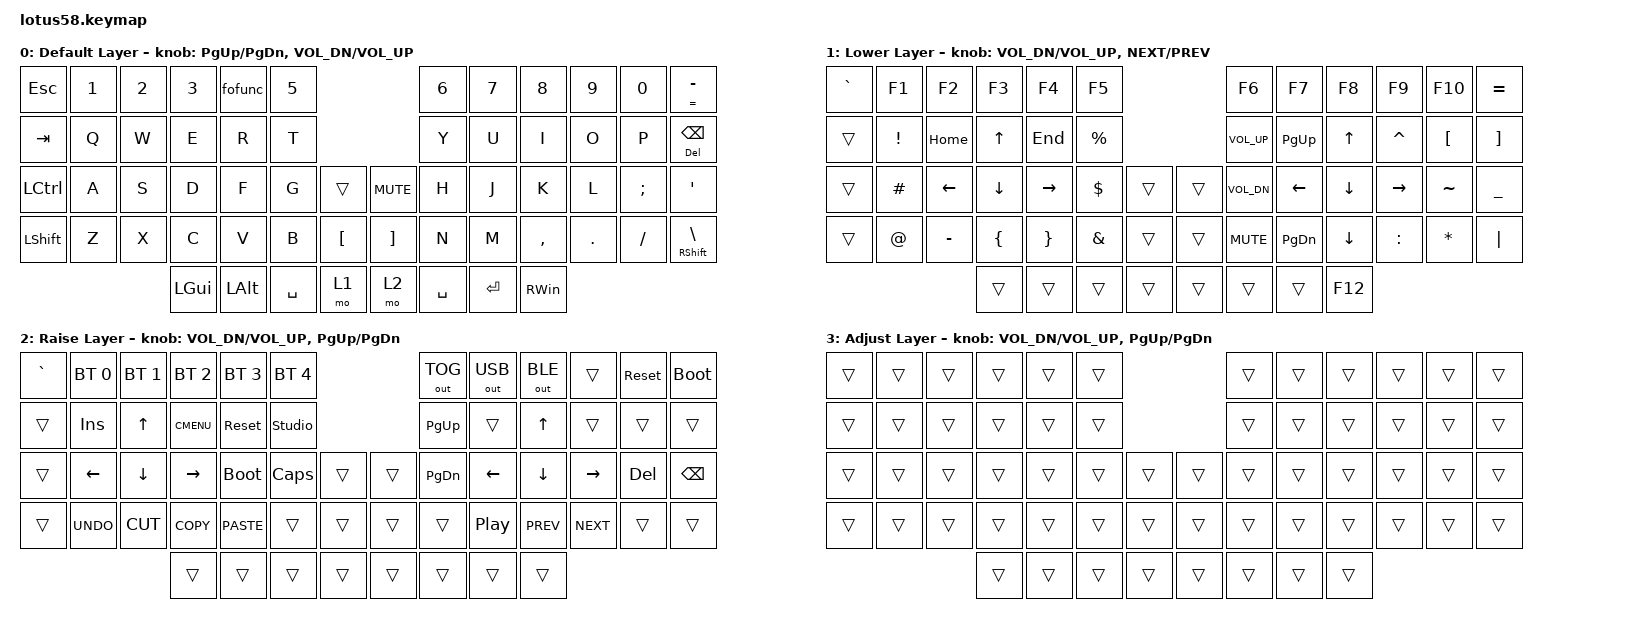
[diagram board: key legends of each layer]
/*
 * Copyright (c) 2022 The ZMK Contributors
 *
 * SPDX-License-Identifier: MIT
 */

#include <behaviors.dtsi>
#include <dt-bindings/zmk/bt.h>
#include <dt-bindings/zmk/keys.h>
#include <dt-bindings/zmk/outputs.h>

// Encoders

&sensors { triggers-per-rotation = <30>; };

&left_encoder { steps = <60>; };

&right_encoder { steps = <60>; };

/ {
    combos {
        compatible = "zmk,combos";

        combo_dsklg {
            timeout-ms = <100>;
            key-positions = <24 52>;
            layers = <0>;
            bindings = <&kp LGUI>;
        };
    };

    behaviors {
        fofunc: four_ffour {
            compatible = "zmk,behavior-mod-morph";
            #binding-cells = <0>;
            bindings = <&kp N4>, <&kp F4>;

            mods = <(MOD_LALT|MOD_RALT)>;
        };

        sleft: s_left {
            compatible = "zmk,behavior-mod-morph";
            #binding-cells = <0>;
            bindings = <&kp S>, <&kp LEFT>;

            mods = <(MOD_LGUI|MOD_RGUI)>;
        };

        fright: f_right {
            compatible = "zmk,behavior-mod-morph";
            #binding-cells = <0>;
            bindings = <&kp F>, <&kp RIGHT>;

            mods = <(MOD_LGUI|MOD_RGUI)>;
        };
    };

    keymap {
        compatible = "zmk,keymap";

        default_layer {
            display-name = "Default Layer";

            //   ------------------------------------------------------------------------------------------------------------
            //  0|  ESC  |  1  |  2  |  3   |  4   |  5   |                     |  6   |  7    |  8    |  9   |   0   |   =   | 11
            // 12|  TAB  |  Q  |  W  |  E   |  R   |  T   |                     |  Y   |  U    |  I    |  O   |   P   |   [   | 23
            // 24|  SFT  |  A  |  S  |  D   |  F   |  G   |  RESET  |  | RESET  |  H   |  J    |  K    |  L   |   ;   | ' SFT | 37
            // 38|  CTRL |  Z  |  X  |  C   |  V   |  B   |  MUTE   |  | PLAY   |  N   |  M    |  ,    |  .   |   /   | \ CTRL| 51
            // 52                    |ENT RS|  ALT | SPACE|DELETE LW|  |ENTER RS| BSPC |  ] LW | RGUI  |                        59

            bindings = <
&kp ESC           &kp N1  &kp N2  &kp N3    &fofunc   &kp N5                           &kp N6     &kp N7     &kp N8         &kp N9   &kp N0    &mt EQUAL MINUS
&kp TAB           &kp Q   &kp W   &kp E     &kp R     &kp T                            &kp Y      &kp U      &kp I          &kp O    &kp P     &mt DELETE BACKSPACE
&kp LEFT_CONTROL  &kp A   &kp S   &kp D     &kp F     &kp G      &trans    &kp C_MUTE  &kp H      &kp J      &kp K          &kp L    &kp SEMI  &kp APOSTROPHE
&kp LEFT_SHIFT    &kp Z   &kp X   &kp C     &kp V     &kp B      &kp LBKT  &kp RBKT    &kp N      &kp M      &kp COMMA      &kp DOT  &kp FSLH  &mt RIGHT_SHIFT BSLH
                                  &kp LGUI  &kp LALT  &kp SPACE  &mo 1     &mo 2       &kp SPACE  &kp ENTER  &kp RIGHT_WIN
            >;

            sensor-bindings = <&inc_dec_kp PG_UP PG_DN &inc_dec_kp C_VOL_DN C_VOL_UP>;
        };

        lower_layer {
            display-name = "Lower Layer";

            // ------------------------------------------------------------------------------------------------------------
            // | `     |  F1 |  F2 |  F3  |  F4  |  F5  |                   |  F6  |  F7   |  F8   |  F9  |  F10  |  F11  |
            // |       |  !  | HOME|   ^  |  END |  %   |                   | VOL^ |  PGUP |  INS  |  ^   |  PSCR |   -   |
            // |       |  #  |  <- |   v  | ->   |  $   |        |  |       | VOLv |    <- |   ^   |  ->  |   ~   |   _   |
            // |       |  @  |  -  |  (   |  )   |  &   |        |  |       | MUTE |  PGDN |   v   |  :   |   *   |   |   |
            //                     |  F11 |      |      |        |  |       |      |       |  F12  |

            bindings = <
&kp GRAVE  &kp F1    &kp F2     &kp F3    &kp F4     &kp F5                     &kp F6        &kp F7     &kp F8        &kp F9     &kp F10           &kp EQUAL
&trans     &kp EXCL  &kp HOME   &kp UP    &kp END    &kp PRCNT                  &kp C_VOL_UP  &kp PG_UP  &kp UP_ARROW  &kp CARET  &kp LEFT_BRACKET  &kp RIGHT_BRACKET
&trans     &kp HASH  &kp LEFT   &kp DOWN  &kp RIGHT  &kp DLLR   &trans  &trans  &kp C_VOL_DN  &kp LEFT   &kp DOWN      &kp RIGHT  &kp TILDE         &kp UNDER
&trans     &kp AT    &kp MINUS  &kp LBRC  &kp RBRC   &kp AMPS   &trans  &trans  &kp C_MUTE    &kp PG_DN  &kp DOWN      &kp COLON  &kp STAR          &kp PIPE
                                &trans    &trans     &trans     &trans  &trans  &trans        &trans     &kp F12
            >;

            sensor-bindings = <&inc_dec_kp C_VOL_DN C_VOL_UP &inc_dec_kp C_NEXT C_PREV>;
        };

        raise_layer {
            display-name = "Raise Layer";

            // ------------------------------------------------------------------------------------------------------------
            // |BTCLR| BT1  | BT2  |  BT3  |  BT4  |  BT5 |                |OUTTOG|OUTUSB| OUTBT |      | RESET | FLASH |
            // |     | INS  | PSCR | GUI   | RESET |      |                | PGUP |      |   ^   |      |       |       |
            // |     | ALT  | CTRL | SHIFT | FLASH | CAPS |      |  |      | PGDN |   <- |   v   |  ->  |  DEL  | BSPC  |
            // |     | UNDO | CUT  | COPY  | PASTE |      |      |  |      |      |  |>  |  <|<| | |>|> |       |       |
            //                     |       |       |      |      |  |      |      |      |       |

            bindings = <
&kp GRAVE  &bt BT_SEL 0    &bt BT_SEL 1  &bt BT_SEL 2  &bt BT_SEL 3  &bt BT_SEL 4                    &out OUT_TOG  &out OUT_USB  &out OUT_BLE  &trans      &sys_reset  &bootloader
&trans     &kp INS         &kp UP_ARROW  &kp K_CMENU   &sys_reset    &studio_unlock                  &kp PG_UP     &trans        &kp UP        &trans      &trans      &trans
&trans     &kp LEFT_ARROW  &kp DOWN      &kp RIGHT     &bootloader   &kp CLCK        &trans  &trans  &kp PG_DN     &kp LEFT      &kp DOWN      &kp RIGHT   &kp DEL     &kp BSPC
&trans     &kp K_UNDO      &kp K_CUT     &kp K_COPY    &kp K_PASTE   &trans          &trans  &trans  &trans        &kp C_PP      &kp C_PREV    &kp C_NEXT  &trans      &trans
                                         &trans        &trans        &trans          &trans  &trans  &trans        &trans        &trans
            >;

            sensor-bindings = <&inc_dec_kp C_VOL_DN C_VOL_UP &inc_dec_kp PG_UP PG_DN>;
        };

        adjust_layer {
            display-name = "Adjust Layer";

            // ------------------------------------------------------------------------------------------------------------
            // |BTCLR| BT1  | BT2  |  BT3  |  BT4  |  BT5 |                |OUTTOG|OUTUSB| OUTBT |      | RESET | FLASH |
            // |     | INS  | PSCR | GUI   | RESET |      |                | PGUP |      |   ^   |      |       |       |
            // |     | ALT  | CTRL | SHIFT | FLASH | CAPS |      |  |      | PGDN |   <- |   v   |  ->  |  DEL  | BSPC  |
            // |     | UNDO | CUT  | COPY  | PASTE |      |      |  |      |      |  |>  |  <|<| | |>|> |       |       |
            //                     |       |       |      |      |  |      |      |      |       |

            bindings = <
&trans  &trans  &trans  &trans  &trans  &trans                  &trans  &trans  &trans  &trans  &trans  &trans
&trans  &trans  &trans  &trans  &trans  &trans                  &trans  &trans  &trans  &trans  &trans  &trans
&trans  &trans  &trans  &trans  &trans  &trans  &trans  &trans  &trans  &trans  &trans  &trans  &trans  &trans
&trans  &trans  &trans  &trans  &trans  &trans  &trans  &trans  &trans  &trans  &trans  &trans  &trans  &trans
                        &trans  &trans  &trans  &trans  &trans  &trans  &trans  &trans
            >;

            sensor-bindings = <&inc_dec_kp C_VOL_DN C_VOL_UP &inc_dec_kp PG_UP PG_DN>;
        };
    };

    extra_layer {
        display-name = "Extra Layer";

        // ------------------------------------------------------------------------------------------------------------
        // |BTCLR| BT1  | BT2  |  BT3  |  BT4  |  BT5 |                |OUTTOG|OUTUSB| OUTBT |      | RESET | FLASH |
        // |     | INS  | PSCR | GUI   | RESET |      |                | PGUP |      |   ^   |      |       |       |
        // |     | ALT  | CTRL | SHIFT | FLASH | CAPS |      |  |      | PGDN |   <- |   v   |  ->  |  DEL  | BSPC  |
        // |     | UNDO | CUT  | COPY  | PASTE |      |      |  |      |      |  |>  |  <|<| | |>|> |       |       |
        //                     |       |       |      |      |  |      |      |      |       |

        bindings = <
&trans &trans &trans &trans &trans &trans                    &trans  &trans  &trans  &trans     &trans  &trans
&trans &trans &trans &trans &trans &trans                    &trans  &trans  &trans  &trans     &trans  &trans
&trans     &trans     &trans    &trans    &trans  &trans     &trans   &trans    &trans     &trans      &trans      &trans  &trans &trans
&trans     &trans   &trans    &trans   &trans  &trans       &trans   &trans    &trans        &trans      &trans    &trans &trans  &trans
                                     &trans       &trans       &trans       &trans   &trans    &trans        &trans        &trans
        >;

        sensor-bindings = <&inc_dec_kp C_VOL_DN C_VOL_UP &inc_dec_kp PG_UP PG_DN>;
    };
};
